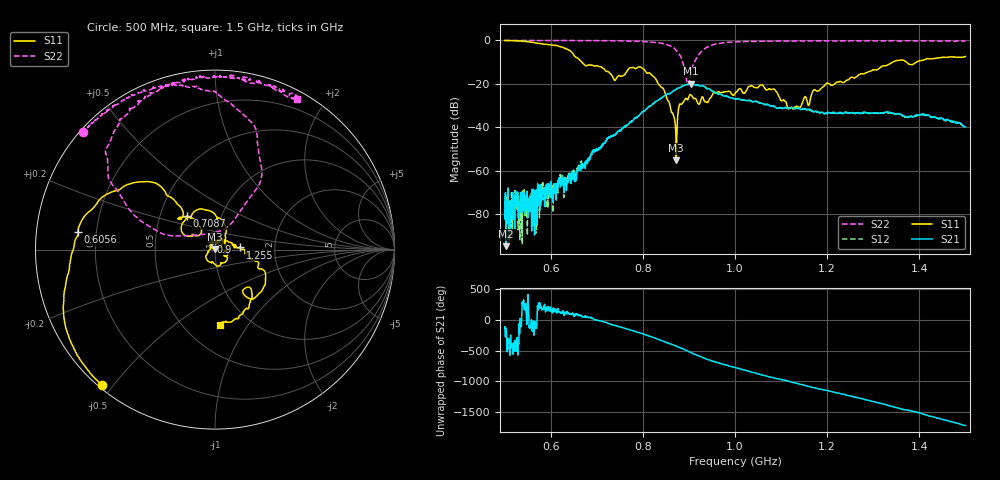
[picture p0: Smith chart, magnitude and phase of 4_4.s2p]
!Agilent Technologies,E8364B,US42250235,A.06.04.32
!Agilent E8364B: A.06.04.32
!Date: Friday, January 15, 2021 15:15:46
!Correction: S11(Full 2 Port(1,2)) S21(Full 2 Port(1,2)) S12(Full 2 Port(1,2)) S22(Full 2 Port(1,2))
!S2P File: Measurements: S11, S21, S12, S22:
# Hz S  dB  R 50
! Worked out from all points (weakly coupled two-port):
!   1601 points, 500 MHz to 1.5 GHz, reference 50 ohm
!   highest |S21| = -20.07 dB at 904.4 MHz (marker M1); lowest = -94.8 dB at 503.1 MHz (marker M2)
!   lowest |S11| = -55.3 dB at 872.5 MHz (marker M3), VSWR 1.00, Z = 50.2 + j0.084 ohm
!   |S11| at or under -10 dB: 667.3 MHz to 1.343 GHz (675.8 MHz wide, 67.2 % of centre); 1.372 GHz to 1.395 GHz (23.07 MHz wide, 1.67 % of centre)
!   |S22| runs from -20.6 to -0.1 dB; largest |S21 - S12| = 0.0028
!   S11 on the Smith chart (normalised r, x): 500 MHz: 0.01, -0.47; 605.6 MHz: 0.13, +0.06; 708.8 MHz: 0.68, +0.27; 900 MHz: 0.95, +0.09; 1.255 GHz: 1.32, +0.03; 1.5 GHz: 0.73, -0.75
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5e8  -0.14 -129.7  -80.59 -134.9  -74.54 -24.1  -0.15 138.4
5.03125e8  -0.16 -131.2  -94.82 -136.2  -71.12 -93.2  -0.13 138.2
5.65e8  -1.16 -163.9  -89.63 -163.3  -80.94 -3.5  -0.16 132.7
5.8125e8  -1.73 -172.2  -68.67 179.0  -65.74 -158.1  -0.16 130.6
6.05625e8  -2.28 172.7  -72.33 -164.9  -66.99 174.9  -0.20 127.9
6.66875e8  -9.90 129.3  -58.26 69.2  -55.56 54.7  -0.20 121.6
7.0875e8  -12.26 130.4  -49.71 -17.7  -49.03 -21.8  -0.25 117.2
7.4e8  -18.51 137.2  -43.47 -89.0  -43.43 -91.3  -0.34 111.9
7.95e8  -12.38 109.6  -33.99 146.8  -33.90 145.0  -0.57 102.3
8.3375e8  -20.24 54.6  -27.55 43.0  -27.48 42.0  -1.15 89.6
8.725e8  -55.30 29.2  -22.61 -65.9  -22.65 -67.6  -4.73 64.8
8.81875e8  -29.46 133.7  -21.73 -94.8  -21.64 -96.1  -7.47 55.8
9e8  -25.97 116.7  -20.32 -155.7  -20.27 -156.5  -19.80 123.1
9.04375e8  -25.21 102.2  -20.07 -171.1  -20.09 -172.0  -14.79 155.0
9.35e8  -28.30 78.0  -21.61 91.0  -21.52 91.1  -3.80 148.4
1e9  -24.52 -2.2  -27.06 -53.5  -26.96 -54.3  -0.82 121.4
1.058125e9  -20.57 -79.7  -29.04 -174.9  -29.18 -175.2  -0.51 112.5
1.123125e9  -31.13 155.1  -30.97 69.4  -31.15 68.1  -0.35 103.3
1.166875e9  -24.42 69.0  -32.59 -19.0  -32.58 -17.6  -0.37 97.5
1.255e9  -17.10 4.9  -33.30 -166.7  -33.58 -167.1  -0.27 88.5
1.33375e9  -11.14 -22.9  -33.18 46.0  -33.51 46.5  -0.32 79.0
1.5e9  -7.51 -86.2  -39.88 83.0  -40.08 82.8  -0.38 61.5
